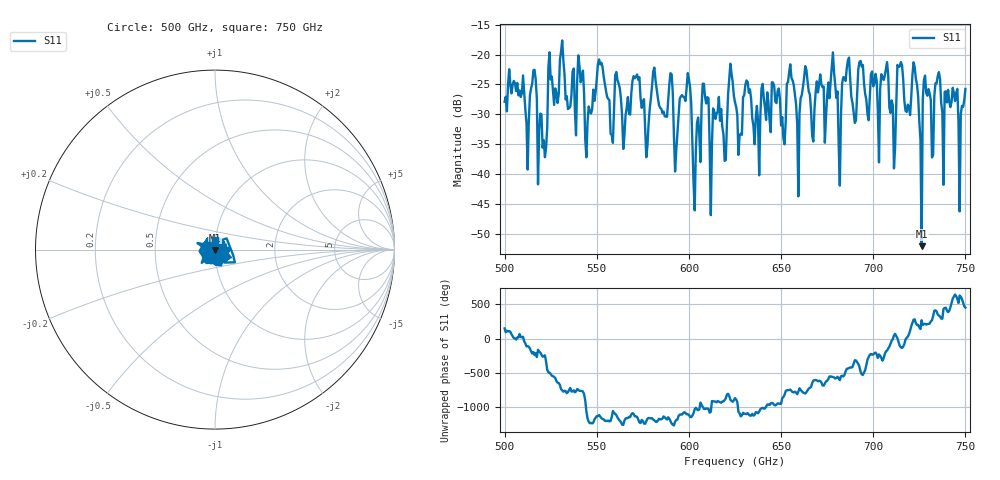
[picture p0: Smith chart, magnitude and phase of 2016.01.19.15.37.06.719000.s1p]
!Created with skrf (http://scikit-rf.org).
# GHz S RI R 50.0
!freq ReS11 ImS11
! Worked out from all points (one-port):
!   401 points, 500 GHz to 750 GHz, reference 50 ohm
!   lowest |S11| = -52.1 dB at 726.2 GHz (marker M1), VSWR 1.00, Z = 50 - j0.248 ohm
!   |S11| at or under -10 dB: start of sweep to end of sweep
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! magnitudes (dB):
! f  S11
! 500 GHz  -27.9
! 515.6 GHz  -22.6
! 521.9 GHz  -37.2
! 525 GHz  -24.2
! 531.2 GHz  -17.6
! 545 GHz  -31.4
! 551.9 GHz  -21.7
! 558.1 GHz  -33.5
! 562.5 GHz  -25.6
! 577.5 GHz  -35.2
! 590 GHz  -23.1
! 593.8 GHz  -33.2
! 599.4 GHz  -23.1
! 603.1 GHz  -46.1
! 608.1 GHz  -24.9
! 612.5 GHz  -34.9
! 625 GHz  -28.0
! 651.2 GHz  -34.0
! 656.2 GHz  -24.3
! 659.4 GHz  -43.7
! 678.1 GHz  -19.6
! 681.2 GHz  -35.0
! 687.5 GHz  -24.1
! 718.8 GHz  -28.4
! 722.5 GHz  -22.1
! 726.2 GHz  -52.1
! 728.8 GHz  -26.4
! 750 GHz  -25.8
